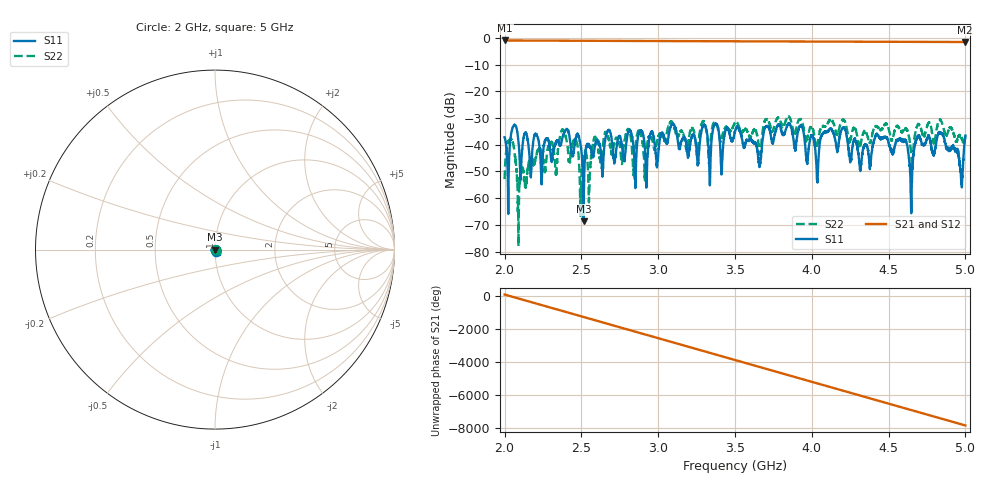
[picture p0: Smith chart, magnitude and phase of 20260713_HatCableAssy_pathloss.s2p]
!Keysight Technologies,P5024B,MY61400434,A.20.20.03
!Date: Monday, July 13, 2026 10:29:15
!Correction: S11(C  2-Port  )
!S21(C  2-Port  )
!S12(C  2-Port  )
!S22(C  2-Port  )
!S2P File: Measurements: S11, S21, S12, S22:
# Hz S  dB  R 50
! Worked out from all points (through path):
!   3001 points, 2 GHz to 5 GHz, reference 50 ohm
!   highest |S21| = -0.97 dB at 2.003 GHz (marker M1); lowest = -1.5 dB at 4.995 GHz (marker M2)
!   group delay of S21, straight-line fit = 7.36 ns
!   lowest |S11| = -68.7 dB at 2.514 GHz (marker M3), VSWR 1.00, Z = 50 + j0.0125 ohm
!   |S11| at or under -10 dB: start of sweep to end of sweep
!   |S22| runs from -78.0 to -29.3 dB; largest |S21 - S12| = 0.0016
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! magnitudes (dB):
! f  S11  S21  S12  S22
! 2 GHz  -37.2  -1.0  -1.0  -52.9
! 2.003 GHz  -37.5  -1.0  -1.0  -47.5
! 2.046 GHz  -34.9  -1.0  -1.0  -38.2
! 2.095 GHz  -42.0  -1.0  -1.0  -56.2
! 2.38 GHz  -36.5  -1.1  -1.1  -34.4
! 2.5 GHz  -42.5  -1.1  -1.1  -52.3
! 2.514 GHz  -68.7  -1.1  -1.1  -44.8
! 2.676 GHz  -34.6  -1.1  -1.1  -37.7
! 3 GHz  -43.5  -1.2  -1.2  -37.3
! 3.5 GHz  -35.3  -1.3  -1.3  -31.7
! 3.659 GHz  -47.4  -1.3  -1.3  -42.5
! 3.707 GHz  -33.0  -1.3  -1.3  -30.4
! 4 GHz  -36.5  -1.4  -1.4  -33.4
! 4.034 GHz  -53.5  -1.4  -1.4  -41.1
! 4.117 GHz  -34.2  -1.4  -1.4  -30.7
! 4.5 GHz  -39.4  -1.5  -1.5  -34.0
! 4.609 GHz  -38.2  -1.5  -1.5  -33.9
! 4.645 GHz  -59.3  -1.5  -1.5  -42.9
! 4.691 GHz  -36.9  -1.5  -1.5  -32.5
! 4.972 GHz  -53.0  -1.5  -1.5  -36.8
! 4.995 GHz  -39.1  -1.5  -1.5  -38.5
! 5 GHz  -36.6  -1.5  -1.5  -36.4
